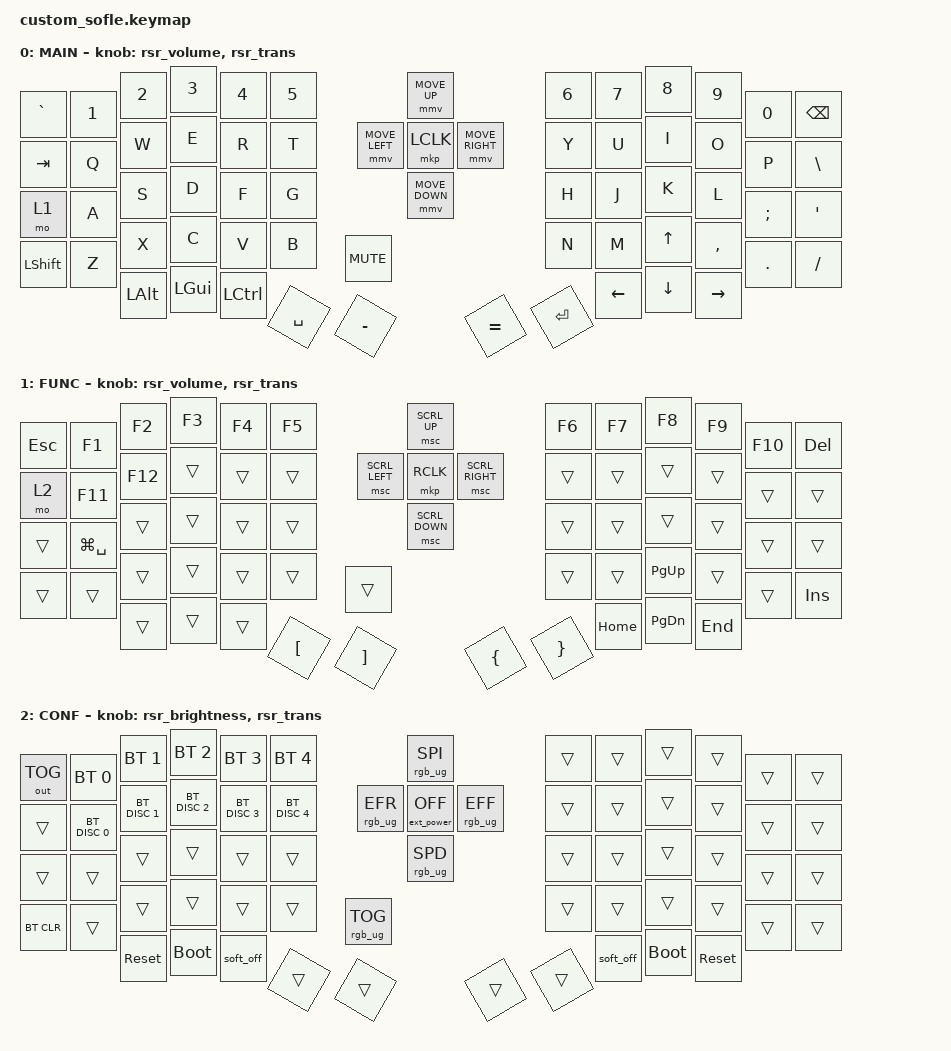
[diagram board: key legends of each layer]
#define ZMK_POINTING_DEFAULT_MOVE_VAL 1200  // 600
#define ZMK_POINTING_DEFAULT_SCRL_VAL 25   // 10

#include <input/processors.dtsi>
#include <zephyr/dt-bindings/input/input-event-codes.h>
#include <behaviors.dtsi>
#include <behaviors/runtime-sensor-rotate.dtsi>
#include <dt-bindings/zmk/bt.h>
#include <dt-bindings/zmk/ext_power.h>
#include <dt-bindings/zmk/keys.h>
#include <dt-bindings/zmk/outputs.h>
#include <dt-bindings/zmk/pointing.h>
#include <dt-bindings/zmk/rgb.h>

&mmv_input_listener { input-processors = <&zip_xy_scaler 2 1>; };

&msc_input_listener { input-processors = <&zip_scroll_scaler 2 1>; };

&mmv {
    time-to-max-speed-ms = <800>;
    acceleration-exponent = <1>;
    trigger-period-ms = <16>;
};

&msc {
    acceleration-exponent = <1>;      // 0
    time-to-max-speed-ms = <100>;     // 300
    delay-ms = <0>;                   // 10
};

&soft_off { hold-time-ms = <2000>; };

/ {
    behaviors {
        rsr_brightness: rsr_brightness {
            compatible = "zmk,behavior-runtime-sensor-rotate";
            #sensor-binding-cells = <0>;
            tap-ms = <5>;
            cw-binding = <&rgb_ug RGB_BRI>;
            ccw-binding = <&rgb_ug RGB_BRD>;
        };

        rsr_volume: rsr_volume {
            compatible = "zmk,behavior-runtime-sensor-rotate";
            #sensor-binding-cells = <0>;
            tap-ms = <5>;
            cw-binding = <&kp C_VOLUME_UP>;
            ccw-binding = <&kp C_VOLUME_DOWN>;
        };

        rsr_trans: rsr_trans {
            compatible = "zmk,behavior-runtime-sensor-rotate";
            #sensor-binding-cells = <0>;
            tap-ms = <0>;
        };
    };

    combos { compatible = "zmk,combos"; };

    keymap {
        compatible = "zmk,keymap";

        default {
            bindings = <
&kp GRAVE   &kp N1        &kp N2        &kp N3     &kp N4     &kp N5       &mmv MOVE_UP     &kp N6     &kp N7     &kp N8          &kp N9          &kp N0           &kp BACKSPACE
&kp TAB     &kp Q         &kp W         &kp E      &kp R      &kp T        &mmv MOVE_DOWN   &kp Y      &kp U      &kp I           &kp O           &kp P            &kp BSLH
&mo 1       &kp A         &kp S         &kp D      &kp F      &kp G        &mmv MOVE_LEFT   &kp H      &kp J      &kp K           &kp L           &kp SEMI         &kp SQT
&kp LSHFT   &kp Z         &kp X         &kp C      &kp V      &kp B        &mmv MOVE_RIGHT  &kp N      &kp M      &kp UP_ARROW    &kp COMMA       &kp PERIOD       &kp SLASH
&kp C_MUTE  &kp LEFT_ALT  &kp LEFT_GUI  &kp LCTRL  &kp SPACE  &kp MINUS    &mkp LCLK        &kp EQUAL  &kp ENTER  &kp LEFT_ARROW  &kp DOWN_ARROW  &kp RIGHT_ARROW
            >;

            sensor-bindings = <&rsr_volume &rsr_trans>;
            display-name = "MAIN";
        };

        function {
            bindings = <
&kp ESCAPE  &kp F1         &kp F2   &kp F3  &kp F4            &kp F5               &msc SCRL_UP     &kp F6          &kp F7           &kp F8       &kp F9         &kp F10  &kp DELETE
&mo 2       &kp F11        &kp F12  &trans  &trans            &trans               &msc SCRL_DOWN   &trans          &trans           &trans       &trans         &trans   &trans
&trans      &kp LG(SPACE)  &trans   &trans  &trans            &trans               &msc SCRL_LEFT   &trans          &trans           &trans       &trans         &trans   &trans
&trans      &trans         &trans   &trans  &trans            &trans               &msc SCRL_RIGHT  &trans          &trans           &kp PAGE_UP  &trans         &trans   &kp INSERT
&trans      &trans         &trans   &trans  &kp LEFT_BRACKET  &kp RIGHT_BRACKET    &mkp RCLK        &kp LEFT_BRACE  &kp RIGHT_BRACE  &kp HOME     &kp PAGE_DOWN  &kp END
            >;

            sensor-bindings = <&rsr_volume &rsr_trans>;
            display-name = "FUNC";
        };

        settings {
            bindings = <
&out OUT_TOG     &bt BT_SEL 0   &bt BT_SEL 1   &bt BT_SEL 2   &bt BT_SEL 3   &bt BT_SEL 4     &rgb_ug RGB_SPI    &trans  &trans  &trans     &trans       &trans      &trans
&trans           &bt BT_DISC 0  &bt BT_DISC 1  &bt BT_DISC 2  &bt BT_DISC 3  &bt BT_DISC 4    &rgb_ug RGB_SPD    &trans  &trans  &trans     &trans       &trans      &trans
&trans           &trans         &trans         &trans         &trans         &trans           &rgb_ug RGB_EFR    &trans  &trans  &trans     &trans       &trans      &trans
&bt BT_CLR       &trans         &trans         &trans         &trans         &trans           &rgb_ug RGB_EFF    &trans  &trans  &trans     &trans       &trans      &trans
&rgb_ug RGB_TOG  &sys_reset     &bootloader    &soft_off      &trans         &trans           &ext_power EP_OFF  &trans  &trans  &soft_off  &bootloader  &sys_reset
            >;

            sensor-bindings = <&rsr_brightness &rsr_trans>;
            display-name = "CONF";
        };
    };
};
